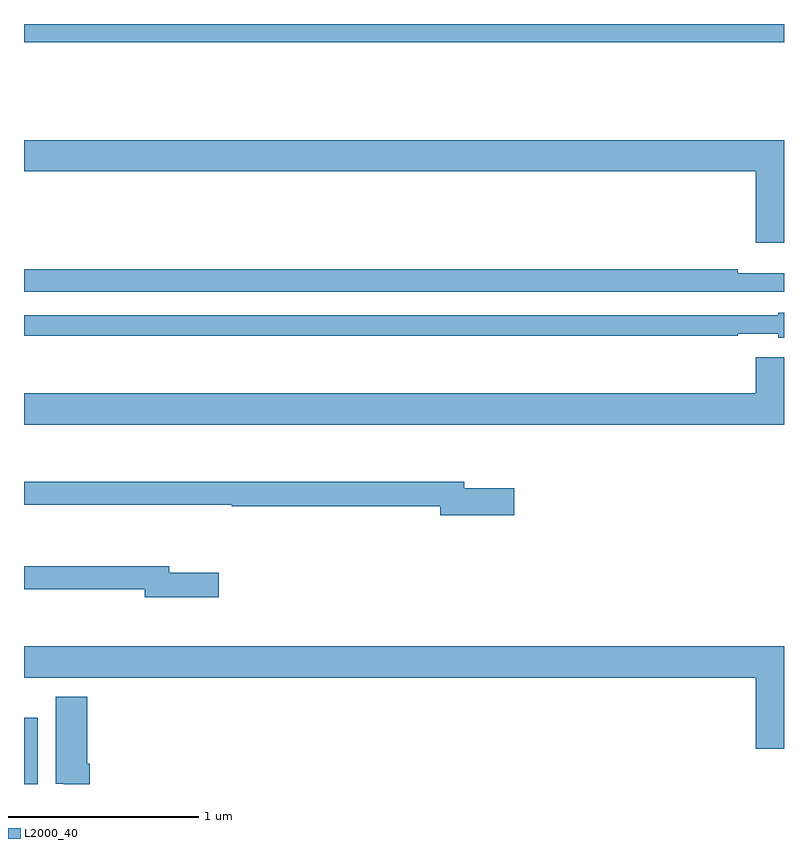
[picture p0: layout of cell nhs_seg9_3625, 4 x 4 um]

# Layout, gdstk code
import gdstk
lib = gdstk.Library(unit=1e-6, precision=1e-09)
def R(c, l, rs):  # rectangles x0, y0, x1, y1
    for r in rs: c.add(gdstk.rectangle(r[:2], r[2:], *l))
def P(c, l, *ps):  # polygons
    for p in ps: c.add(gdstk.Polygon(p, *l))
L2000_40 = (2000, 40)

nhs_seg9_3625 = lib.new_cell('nhs_seg9_3625')
R(nhs_seg9_3625, L2000_40, [(317,1222.5,317.073,1222.848), (317,1226.404,321,1226.5)])
P(nhs_seg9_3625, L2000_40, [(321,1225.888),(317,1225.888),(317,1225.724),(320.852,1225.724),(320.852,1225.35),(321,1225.35)],
  [(321,1225.189),(320.756,1225.189),(320.756,1225.208),(317,1225.208),(317,1225.092),(321,1225.092)],
  [(321,1224.979),(320.97,1224.979),(320.97,1224.966),(317,1224.966),(317,1224.858),(320.756,1224.858),(320.756,1224.87),(320.97,1224.87),(320.97,1224.85),(321,1224.85)],
  [(321,1224.745),(320.852,1224.745),(320.852,1224.556),(317,1224.556),(317,1224.392),(321,1224.392)],
  [(319.579,1224.057),(319.318,1224.057),(319.318,1224.091),(317,1224.091),(317,1223.97),(318.094,1223.97),(318.094,1223.962),(319.19,1223.962),(319.19,1223.915),(319.579,1223.915)],
  [(318.025,1223.613),(317.764,1223.613),(317.764,1223.647),(317,1223.647),(317,1223.526),(317.636,1223.526),(317.636,1223.483),(318.025,1223.483)],
  [(321,1223.224),(317,1223.224),(317,1223.06),(320.852,1223.06),(320.852,1222.686),(321,1222.686)],
  [(317.345,1222.606),(317.332,1222.606),(317.332,1222.96),(317.168,1222.96),(317.168,1222.502),(317.21,1222.502),(317.21,1222.5),(317.345,1222.5)])

lib.write_gds('nhs_seg9_3625.gds')
